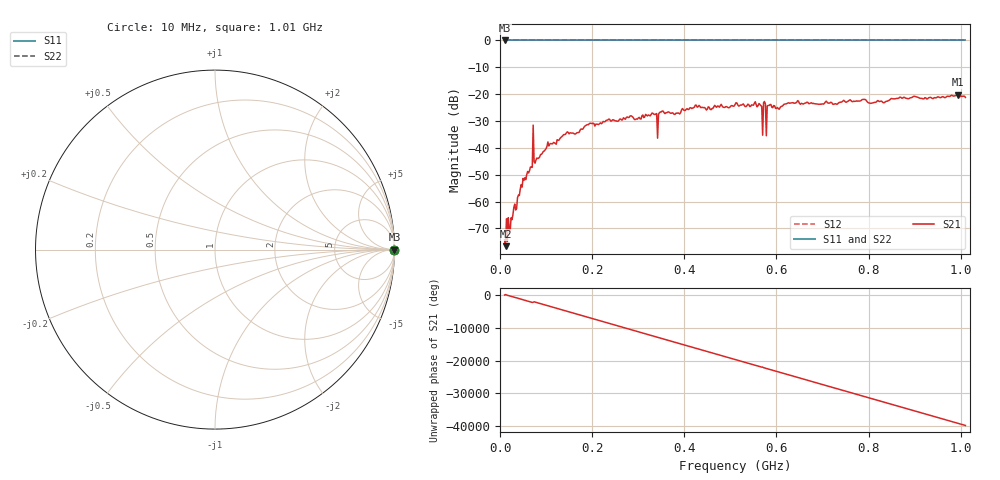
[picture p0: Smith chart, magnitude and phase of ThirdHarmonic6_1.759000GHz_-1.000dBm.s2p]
! 8/16/2025 9:14:06 PM
! C:\ANRITSUVNA\TEMP\TEMP.S2P
! CHANNEL.1
! TR.MEASUREMENT
! RAW.DATA
! RF.CORRECTION.OFF
! AVERAGING.OFF
! IF.BANDWIDTH: 5KHZ
! SWEEPTYPE:  FREQ.SWEEP(Linear)
! Reference Plane Port Info
! PORT:  PORT1  PORT2
! DISTANCE:  0  m  0  m
! TIME:  0  s  0  s
! PHASE.OFFSET:  0  deg.  0  deg.
! LOSS:  0  dB  0  dB
! REF.LOSS:  0  dB  0  dB
! REF.FREQ:  0  Hz  0  Hz
! Power Info
! POWER:  -20  dBm  -20  dBm
! EFF.POWER:  -20  dBm  -20  dBm
! SOURCE.ATTEN:  0  dB  0  dB
! TEST.ATTEN:  0  dB  0  dB
# GHZ S RI R 50.0
! FREQ.GHZ  S11RE  S11IM  S21RE  S21IM  S12RE  S12IM  S22RE  S22IM
!; PortSelection: Port_12
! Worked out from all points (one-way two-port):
!   501 points, 10 MHz to 1.01 GHz, reference 50 ohm
!   highest |S21| = -20.22 dB at 994 MHz (marker M1); lowest = -76.6 dB at 12 MHz (marker M2)
!   lowest |S11| = 0.0 dB at 10 MHz (marker M3)
!   |S11| at or under -10 dB: nowhere
!   |S22| runs from 0.0 to 0.0 dB; largest |S21 - S12| = 1.1
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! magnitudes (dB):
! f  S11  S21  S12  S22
! 10 MHz  0.0  -74.3  0.0  0.0
! 12 MHz  0.0  -76.6  0.0  0.0
! 48 MHz  0.0  -54.6  0.0  0.0
! 66 MHz  0.0  -47.2  0.0  0.0
! 68 MHz  0.0  -47.1  0.0  0.0
! 76 MHz  0.0  -45.7  0.0  0.0
! 78 MHz  0.0  -44.6  0.0  0.0
! 106 MHz  0.0  -39.3  0.0  0.0
! 178 MHz  0.0  -33.1  0.0  0.0
! 282 MHz  0.0  -28.2  0.0  0.0
! 344 MHz  0.0  -27.5  0.0  0.0
! 350 MHz  0.0  -26.6  0.0  0.0
! 510 MHz  0.0  -23.9  0.0  0.0
! 564 MHz  0.0  -23.8  0.0  0.0
! 574 MHz  0.0  -22.7  0.0  0.0
! 576 MHz  0.0  -23.7  0.0  0.0
! 582 MHz  0.0  -24.2  0.0  0.0
! 584 MHz  0.0  -24.2  0.0  0.0
! 678 MHz  0.0  -23.5  0.0  0.0
! 844 MHz  0.0  -22.3  0.0  0.0
! 994 MHz  0.0  -20.2  0.0  0.0
! 1.01 GHz  0.0  -21.2  0.0  0.0
